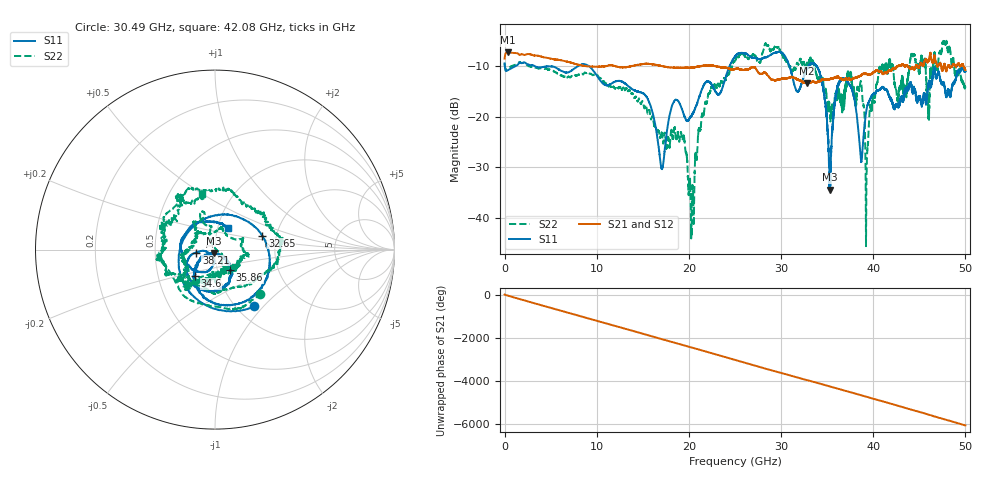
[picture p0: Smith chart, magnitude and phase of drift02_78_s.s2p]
!Created with skrf (http://scikit-rf.org).
# Hz S RI R 50.0
!freq ReS11 ImS11 ReS21 ImS21 ReS12 ImS12 ReS22 ImS22
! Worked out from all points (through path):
!   10001 points, 300 kHz to 50 GHz, reference 50 ohm
!   highest |S21| = -7.32 dB at 320.3 MHz (marker M1); lowest = -13.4 dB at 32.78 GHz (marker M2)
!   group delay of S21, straight-line fit = 335 ps
!   lowest |S11| = -34.5 dB at 35.28 GHz (marker M3), VSWR 1.04, Z = 49.6 - j1.83 ohm
!   |S11| at or under -10 dB: 3.224 GHz to 8.004 GHz (4.779 GHz wide, 85.1 % of centre); 9.106 GHz to 24.42 GHz (15.31 GHz wide, 91.3 % of centre); 33.85 GHz to 49.64 GHz (15.79 GHz wide, 37.8 % of centre) (the widest 3 of 10)
!   |S22| runs from -45.6 to -5.0 dB; largest |S21 - S12| = 0.012
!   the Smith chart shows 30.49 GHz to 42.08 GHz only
!   S11 on the Smith chart (normalised r, x): 30.49 GHz: 1.20, -0.89; 32.65 GHz: 1.69, +0.29; 34.6 GHz: 0.77, -0.23; 35.86 GHz: 1.15, -0.26; 38.21 GHz: 0.81, -0.03; 42.08 GHz: 1.12, +0.27
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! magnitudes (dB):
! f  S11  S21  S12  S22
! 300 kHz  -9.5  -8.5  -8.4  -9.5
! 320.3 MHz  -10.9  -7.3  -7.3  -10.6
! 8.335 GHz  -9.7  -9.9  -9.9  -11.5
! 16.67 GHz  -25.5  -9.9  -9.9  -22.8
! 19.31 GHz  -18.9  -10.3  -10.3  -24.5
! 20.37 GHz  -19.6  -10.3  -10.3  -33.8
! 21.94 GHz  -13.1  -9.9  -9.9  -17.2
! 25 GHz  -8.2  -10.6  -10.6  -9.1
! 30.49 GHz  -8.3  -12.5  -12.4  -9.0
! 32.65 GHz  -11.2  -13.3  -13.4  -10.2
! 32.78 GHz  -10.7  -13.4  -13.4  -9.8
! 33.34 GHz  -9.6  -13.1  -13.1  -9.0
! 34.6 GHz  -14.7  -12.8  -12.7  -13.5
! 35.28 GHz  -34.5  -12.5  -12.6  -18.9
! 35.86 GHz  -17.1  -12.3  -12.3  -15.7
! 38.21 GHz  -19.6  -12.3  -12.2  -15.4
! 39.32 GHz  -18.1  -11.6  -11.5  -28.0
! 41.67 GHz  -15.8  -10.9  -11.0  -9.8
! 42.08 GHz  -17.2  -10.7  -10.7  -10.0
! 45.97 GHz  -13.9  -9.0  -9.0  -18.3
! 47.77 GHz  -14.4  -9.8  -9.7  -5.6
! 50 GHz  -11.1  -10.8  -10.7  -14.0
